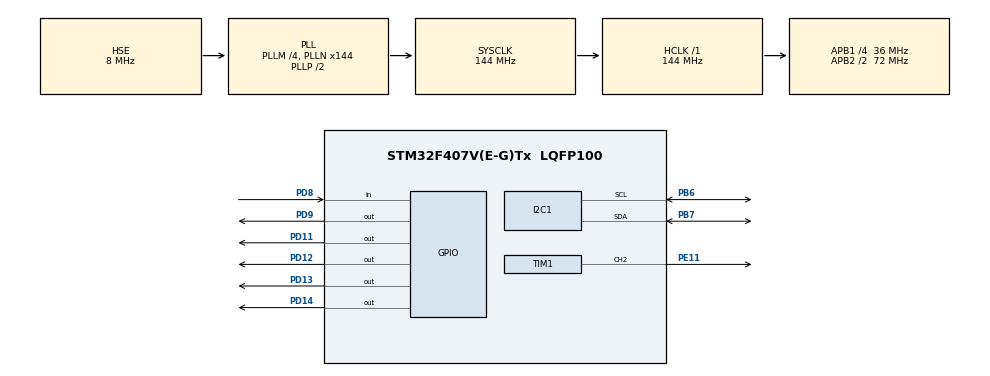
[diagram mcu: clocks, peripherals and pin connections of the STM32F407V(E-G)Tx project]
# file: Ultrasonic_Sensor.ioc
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Mcu.Family=STM32F4
Mcu.Name=STM32F407V(E-G)Tx
Mcu.Package=LQFP100
NVIC.PriorityGroup=NVIC_PRIORITYGROUP_0
PA13.Mode=Serial_Wire
PA13.Signal=SYS_JTMS-SWDIO
PA14.Mode=Serial_Wire
PA14.Signal=SYS_JTCK-SWCLK
PB6.Mode=I2C
PB6.Signal=I2C1_SCL
PB7.Mode=I2C
PB7.Signal=I2C1_SDA
PD11.Signal=GPIO_Output
PD12.Signal=GPIO_Output
PD13.Signal=GPIO_Output
PD14.Signal=GPIO_Output
PD8.Signal=GPIO_Input
PD9.Signal=GPIO_Output
PE11.Signal=S_TIM1_CH2
PH0-OSC_IN.Mode=HSE-External-Oscillator
PH0-OSC_IN.Signal=RCC_OSC_IN
PH1-OSC_OUT.Mode=HSE-External-Oscillator
PH1-OSC_OUT.Signal=RCC_OSC_OUT
ProjectManager.HeapSize=0x200
ProjectManager.StackSize=0x400
ProjectManager.TargetToolchain=STM32CubeIDE
RCC.48MHZClocksFreq_Value=41142857.14285714
RCC.AHBFreq_Value=144000000
RCC.APB1CLKDivider=RCC_HCLK_DIV4
RCC.APB1Freq_Value=36000000
RCC.APB1TimFreq_Value=72000000
RCC.APB2CLKDivider=RCC_HCLK_DIV2
RCC.APB2Freq_Value=72000000
RCC.APB2TimFreq_Value=144000000
RCC.CortexFreq_Value=144000000
RCC.HCLKFreq_Value=144000000
RCC.HSE_VALUE=8000000
RCC.HSI_VALUE=16000000
RCC.LSE_VALUE=32768
RCC.PLLM=4
RCC.PLLN=144
RCC.PLLQ=7
RCC.PLLSourceVirtual=RCC_PLLSOURCE_HSE
RCC.SYSCLKFreq_VALUE=144000000
RCC.SYSCLKSource=RCC_SYSCLKSOURCE_PLLCLK
RCC.VCOOutputFreq_Value=288000000
SH.S_TIM1_CH2.0=TIM1_CH2,PWM Generation2 CH2
TIM1.Channel-PWM\ Generation2\ CH2=TIM_CHANNEL_2
TIM1.Prescaler=72-1
VP_TIM1_VS_ClockSourceINT.Mode=Internal
board=STM32F407G-DISC1

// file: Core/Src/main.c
/* USER CODE BEGIN Header */
/**
  ******************************************************************************
  * @file           : main.c
  * @brief          : Main program body
  ******************************************************************************
  * @attention
  *
  * Copyright (c) 2024 STMicroelectronics.
  * All rights reserved.
  *
  * This software is licensed under terms that can be found in the LICENSE file
  * in the root directory of this software component.
  * If no LICENSE file comes with this software, it is provided AS-IS.
  *
  ******************************************************************************
  */
/* USER CODE END Header */
#include "main.h"

/* USER CODE BEGIN Includes */
#include <string.h>
#include <stdio.h>
#include "lcd16x2_i2c.h"
/* USER CODE END Includes */

/* USER CODE BEGIN PTD */
#define usTIM	TIM1
/* USER CODE END PTD */

I2C_HandleTypeDef hi2c1;

TIM_HandleTypeDef htim1;

void SystemClock_Config(void);
static void MX_GPIO_Init(void);
static void MX_TIM1_Init(void);
static void MX_I2C1_Init(void);

/* USER CODE BEGIN 0 */
const float SpeedofSound = 0.0343/2;
float distance;
char uartBuf[100];
/* USER CODE END 0 */

int main(void)
{
  /* USER CODE BEGIN 1 */
uint32_t numTicks = 0;
  /* USER CODE END 1 */

  /* MCU Configuration--------------------------------------------------------*/

  /* Reset of all peripherals, Initializes the Flash interface and the Systick. */
  HAL_Init();

  /* Configure the system clock */
  SystemClock_Config();

  /* Initialize all configured peripherals */
  MX_GPIO_Init();
  MX_TIM1_Init();
  MX_I2C1_Init();
  /* USER CODE BEGIN 2 */
  HAL_TIM_PWM_Start(&htim1,TIM_CHANNEL_2);
  if(lcd16x2_i2c_init(&hi2c1))
  {
	  HAL_GPIO_WritePin(GPIOD, GPIO_PIN_12, SET);
  }

  /* USER CODE END 2 */

  /* Infinite loop */
  while (1)
  {

    /* USER CODE BEGIN 3 */
		//Set TRIG to LOW for few uSec
		HAL_GPIO_WritePin(GPIOD, GPIO_PIN_9, GPIO_PIN_RESET);
		usDelay(3);

		//*** START Ultrasonic measure routine ***//
		//1. Output 10 usec TRIG
		HAL_GPIO_WritePin(GPIOD, GPIO_PIN_9, GPIO_PIN_SET);
		usDelay(10);
		HAL_GPIO_WritePin(GPIOD, GPIO_PIN_9, GPIO_PIN_RESET);

		//2. Wait for ECHO pin rising edge
		while(HAL_GPIO_ReadPin(GPIOD, GPIO_PIN_8) == GPIO_PIN_RESET);

		//3. Start measuring ECHO pulse width in usec
		numTicks = 0;
		while(HAL_GPIO_ReadPin(GPIOD, GPIO_PIN_8) == GPIO_PIN_SET)
		{
			numTicks++;
			usDelay(2); //2.8usec
		};

		//4. Estimate distance in cm
		distance = (numTicks + 0.0f)*2.8*SpeedofSound;
		lcd16x2_i2c_2ndLine();
		lcd16x2_i2c_printf("Dist (cm)=%f", distance);
		//5. Print to UART terminal for debugging
//		sprintf(uartBuf, "Distance = %.1f cm\r\n", distance);
//		HAL_UART_Transmit(&huart2, (uint8_t *)uartBuf, strlen(uartBuf), 100);
//
		HAL_Delay(500);

		if(distance <= 10)
		{
			HAL_GPIO_WritePin(GPIOD, GPIO_PIN_13, GPIO_PIN_RESET);
			HAL_Delay(500);
			HAL_GPIO_WritePin(GPIOD, GPIO_PIN_11, GPIO_PIN_SET);

			lcd16x2_i2c_1stLine();
			lcd16x2_i2c_printf("Space is full...");
//			int x;
//				  for(x=250;x<1250; x=x+1)
//				  {
//					  __HAL_TIM_SET_COMPARE(&htim1, TIM_CHANNEL_2,x);
//					  HAL_Delay(5);
//				  }
//				  for(x=1250;x>250; x--)
//				  	  {
//				  		  __HAL_TIM_SET_COMPARE(&htim1, TIM_CHANNEL_2,x);
//				  		  HAL_Delay(5);
//				  	  }
		}
		else
		{
			HAL_GPIO_WritePin(GPIOD, GPIO_PIN_11, GPIO_PIN_RESET);
			HAL_Delay(500);
			HAL_GPIO_WritePin(GPIOD, GPIO_PIN_13, GPIO_PIN_SET);
			lcd16x2_i2c_1stLine();
			lcd16x2_i2c_printf("Space is empty...");

		}
		//d16x2_i2c_clear();
  }
  /* USER CODE END 3 */
}

void SystemClock_Config(void)
{
  RCC_OscInitTypeDef RCC_OscInitStruct = {0};
  RCC_ClkInitTypeDef RCC_ClkInitStruct = {0};

  /** Configure the main internal regulator output voltage
  */
  __HAL_RCC_PWR_CLK_ENABLE();
  __HAL_PWR_VOLTAGESCALING_CONFIG(PWR_REGULATOR_VOLTAGE_SCALE1);

  /** Initializes the RCC Oscillators according to the specified parameters
  * in the RCC_OscInitTypeDef structure.
  */
  RCC_OscInitStruct.OscillatorType = RCC_OSCILLATORTYPE_HSE;
  RCC_OscInitStruct.HSEState = RCC_HSE_ON;
  RCC_OscInitStruct.PLL.PLLState = RCC_PLL_ON;
  RCC_OscInitStruct.PLL.PLLSource = RCC_PLLSOURCE_HSE;
  RCC_OscInitStruct.PLL.PLLM = 4;
  RCC_OscInitStruct.PLL.PLLN = 144;
  RCC_OscInitStruct.PLL.PLLP = RCC_PLLP_DIV2;
  RCC_OscInitStruct.PLL.PLLQ = 7;
  if (HAL_RCC_OscConfig(&RCC_OscInitStruct) != HAL_OK)
  {
    Error_Handler();
  }

  /** Initializes the CPU, AHB and APB buses clocks
  */
  RCC_ClkInitStruct.ClockType = RCC_CLOCKTYPE_HCLK|RCC_CLOCKTYPE_SYSCLK
                              |RCC_CLOCKTYPE_PCLK1|RCC_CLOCKTYPE_PCLK2;
  RCC_ClkInitStruct.SYSCLKSource = RCC_SYSCLKSOURCE_PLLCLK;
  RCC_ClkInitStruct.AHBCLKDivider = RCC_SYSCLK_DIV1;
  RCC_ClkInitStruct.APB1CLKDivider = RCC_HCLK_DIV4;
  RCC_ClkInitStruct.APB2CLKDivider = RCC_HCLK_DIV2;

  if (HAL_RCC_ClockConfig(&RCC_ClkInitStruct, FLASH_LATENCY_4) != HAL_OK)
  {
    Error_Handler();
  }
}

static void MX_I2C1_Init(void)
{

  hi2c1.Instance = I2C1;
  hi2c1.Init.ClockSpeed = 100000;
  hi2c1.Init.DutyCycle = I2C_DUTYCYCLE_2;
  hi2c1.Init.OwnAddress1 = 0;
  hi2c1.Init.AddressingMode = I2C_ADDRESSINGMODE_7BIT;
  hi2c1.Init.DualAddressMode = I2C_DUALADDRESS_DISABLE;
  hi2c1.Init.OwnAddress2 = 0;
  hi2c1.Init.GeneralCallMode = I2C_GENERALCALL_DISABLE;
  hi2c1.Init.NoStretchMode = I2C_NOSTRETCH_DISABLE;
  if (HAL_I2C_Init(&hi2c1) != HAL_OK)
  {
    Error_Handler();
  }

}

static void MX_TIM1_Init(void)
{

  TIM_ClockConfigTypeDef sClockSourceConfig = {0};
  TIM_MasterConfigTypeDef sMasterConfig = {0};
  TIM_OC_InitTypeDef sConfigOC = {0};
  TIM_BreakDeadTimeConfigTypeDef sBreakDeadTimeConfig = {0};

  htim1.Instance = TIM1;
  htim1.Init.Prescaler = 72-1;
  htim1.Init.CounterMode = TIM_COUNTERMODE_UP;
  htim1.Init.Period = 65535;
  htim1.Init.ClockDivision = TIM_CLOCKDIVISION_DIV1;
  htim1.Init.RepetitionCounter = 0;
  htim1.Init.AutoReloadPreload = TIM_AUTORELOAD_PRELOAD_DISABLE;
  if (HAL_TIM_Base_Init(&htim1) != HAL_OK)
  {
    Error_Handler();
  }
  sClockSourceConfig.ClockSource = TIM_CLOCKSOURCE_INTERNAL;
  if (HAL_TIM_ConfigClockSource(&htim1, &sClockSourceConfig) != HAL_OK)
  {
    Error_Handler();
  }
  if (HAL_TIM_PWM_Init(&htim1) != HAL_OK)
  {
    Error_Handler();
  }
  sMasterConfig.MasterOutputTrigger = TIM_TRGO_RESET;
  sMasterConfig.MasterSlaveMode = TIM_MASTERSLAVEMODE_DISABLE;
  if (HAL_TIMEx_MasterConfigSynchronization(&htim1, &sMasterConfig) != HAL_OK)
  {
    Error_Handler();
  }
  sConfigOC.OCMode = TIM_OCMODE_PWM1;
  sConfigOC.Pulse = 0;
  sConfigOC.OCPolarity = TIM_OCPOLARITY_HIGH;
  sConfigOC.OCNPolarity = TIM_OCNPOLARITY_HIGH;
  sConfigOC.OCFastMode = TIM_OCFAST_DISABLE;
  sConfigOC.OCIdleState = TIM_OCIDLESTATE_RESET;
  sConfigOC.OCNIdleState = TIM_OCNIDLESTATE_RESET;
  if (HAL_TIM_PWM_ConfigChannel(&htim1, &sConfigOC, TIM_CHANNEL_2) != HAL_OK)
  {
    Error_Handler();
  }
  sBreakDeadTimeConfig.OffStateRunMode = TIM_OSSR_DISABLE;
  sBreakDeadTimeConfig.OffStateIDLEMode = TIM_OSSI_DISABLE;
  sBreakDeadTimeConfig.LockLevel = TIM_LOCKLEVEL_OFF;
  sBreakDeadTimeConfig.DeadTime = 0;
  sBreakDeadTimeConfig.BreakState = TIM_BREAK_DISABLE;
  sBreakDeadTimeConfig.BreakPolarity = TIM_BREAKPOLARITY_HIGH;
  sBreakDeadTimeConfig.AutomaticOutput = TIM_AUTOMATICOUTPUT_DISABLE;
  if (HAL_TIMEx_ConfigBreakDeadTime(&htim1, &sBreakDeadTimeConfig) != HAL_OK)
  {
    Error_Handler();
  }
  HAL_TIM_MspPostInit(&htim1);

}

static void MX_GPIO_Init(void)
{
  GPIO_InitTypeDef GPIO_InitStruct = {0};

  /* GPIO Ports Clock Enable */
  __HAL_RCC_GPIOH_CLK_ENABLE();
  __HAL_RCC_GPIOE_CLK_ENABLE();
  __HAL_RCC_GPIOD_CLK_ENABLE();
  __HAL_RCC_GPIOA_CLK_ENABLE();
  __HAL_RCC_GPIOB_CLK_ENABLE();

  /*Configure GPIO pin Output Level */
  HAL_GPIO_WritePin(GPIOD, GPIO_PIN_9|GPIO_PIN_11|GPIO_PIN_12|GPIO_PIN_13
                          |GPIO_PIN_14, GPIO_PIN_RESET);

  /*Configure GPIO pin : PD8 */
  GPIO_InitStruct.Pin = GPIO_PIN_8;
  GPIO_InitStruct.Mode = GPIO_MODE_INPUT;
  GPIO_InitStruct.Pull = GPIO_NOPULL;
  HAL_GPIO_Init(GPIOD, &GPIO_InitStruct);

  /*Configure GPIO pins : PD9 PD11 PD12 PD13
                           PD14 */
  GPIO_InitStruct.Pin = GPIO_PIN_9|GPIO_PIN_11|GPIO_PIN_12|GPIO_PIN_13
                          |GPIO_PIN_14;
  GPIO_InitStruct.Mode = GPIO_MODE_OUTPUT_PP;
  GPIO_InitStruct.Pull = GPIO_NOPULL;
  GPIO_InitStruct.Speed = GPIO_SPEED_FREQ_LOW;
  HAL_GPIO_Init(GPIOD, &GPIO_InitStruct);

}

/* USER CODE BEGIN 4 */
void usDelay(uint32_t uSec)
{
	if(uSec < 2) uSec = 2;
	usTIM->ARR = uSec - 1; 	/*sets the value in the auto-reload register*/
	usTIM->EGR = 1; 			/*Re-initialises the timer*/
	usTIM->SR &= ~1; 		//Resets the flag
	usTIM->CR1 |= 1; 		//Enables the counter
	while((usTIM->SR&0x0001) != 1);
	usTIM->SR &= ~(0x0001);
}
/* USER CODE END 4 */

void Error_Handler(void)
{
  __disable_irq();
  while (1)
  {
  }
}
